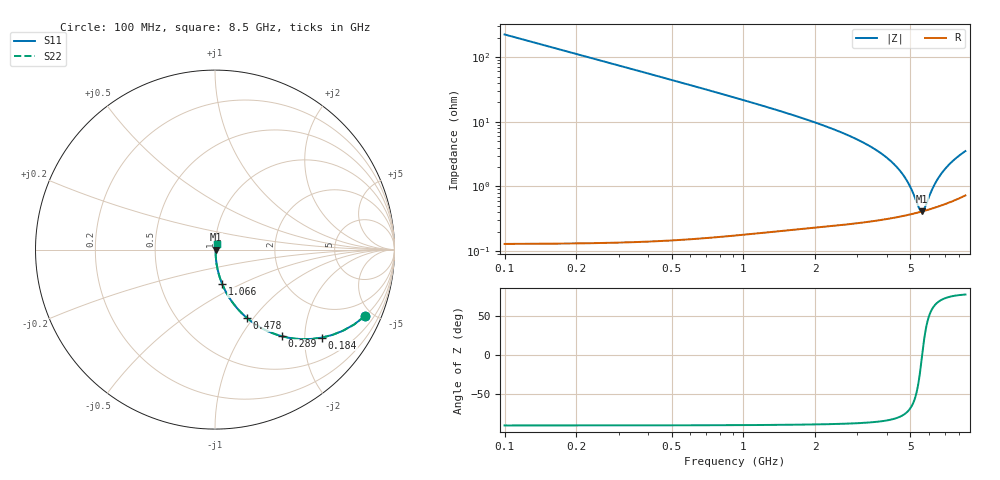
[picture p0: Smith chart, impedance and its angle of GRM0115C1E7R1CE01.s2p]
!Murata Part Number: GRM0115C1E7R1CE01
!These Parameters are Measured in Series Mode Connection
!Data Generated on Mar 30, 2021
!  o--ll--o
!Port1  Port2
!  o------o
!Operation Temp=25[degC], DC Bias Voltage=0[V]
!Freq. Start=100[MHz] Stop=9[GHz] 401[Steps]
# Hz S RI R 50
!Freq.(Hz) S11(Real) S11(Imag) S21(Real) S21(Imag) S12(Real) S12(Imag) S22(Real) S22(Imag)
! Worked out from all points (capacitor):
!   401 points, 100 MHz to 8.5 GHz, reference 50 ohm
!   read as one part in series: C = 7.1 pF near 142 MHz
!   lowest |Z| = 411 mohm at 5.581 GHz (marker M1)
!   series resonance near 5.6 GHz, so ESL is about 110 pH
!   S11 on the Smith chart (normalised r, x): 100 MHz: 1.00, -4.48; 184 MHz: 1.00, -2.43; 289 MHz: 1.00, -1.55; 478 MHz: 1.00, -0.93; 1.066 GHz: 1.00, -0.40; 8.5 GHz: 1.01, +0.07
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1e8  0.8338 -0.372  0.1662 0.372  0.1662 0.372  0.8338 -0.372
1.84e8  0.5968 -0.49  0.4032 0.49  0.4032 0.49  0.5968 -0.49
2.89e8  0.3745 -0.4831  0.6255 0.4831  0.6255 0.4831  0.3745 -0.4831
3.73e8  0.2639 -0.4396  0.7361 0.4396  0.7361 0.4396  0.2639 -0.4396
4.78e8  0.1787 -0.3815  0.8213 0.3815  0.8213 0.3815  0.1787 -0.3815
7.09e8  0.0892 -0.2825  0.9108 0.2825  0.9108 0.2825  0.0892 -0.2825
1.066e9  0.0409 -0.1936  0.9591 0.1936  0.9591 0.1936  0.0409 -0.1936
1.507e9  0.0205 -0.1345  0.9795 0.1345  0.9795 0.1345  0.0205 -0.1345
2.914e9  0.00576 -0.0555  0.9942 0.0555  0.9942 0.0555  0.00576 -0.0555
3.733e9  0.00411 -0.0331  0.9959 0.0331  0.9959 0.0331  0.00411 -0.0331
4.3e9  0.00374 -0.0212  0.9963 0.0212  0.9963 0.0212  0.00374 -0.0212
4.846e9  0.00373 -0.0115  0.9963 0.0115  0.9963 0.0115  0.00373 -0.0115
5.098e9  0.00381 -0.00747  0.9962 0.00747  0.9962 0.00747  0.00381 -0.00747
5.434e9  0.00398 -0.00239  0.996 0.00239  0.996 0.00239  0.00398 -0.00239
5.581e9  0.00408 -0.000269  0.9959 0.000269  0.9959 0.000269  0.00408 -0.000269
5.707e9  0.00418 0.00151  0.9958 -0.00151  0.9958 -0.00151  0.00418 0.00151
6.085e9  0.00452 0.00661  0.9955 -0.00661  0.9955 -0.00661  0.00452 0.00661
6.358e9  0.00481 0.0101  0.9952 -0.0101  0.9952 -0.0101  0.00481 0.0101
6.694e9  0.00522 0.0142  0.9948 -0.0142  0.9948 -0.0142  0.00522 0.0142
7.114e9  0.00581 0.0192  0.9942 -0.0192  0.9942 -0.0192  0.00581 0.0192
7.744e9  0.00686 0.0262  0.9931 -0.0262  0.9931 -0.0262  0.00686 0.0262
8.5e9  0.00838 0.034  0.9916 -0.034  0.9916 -0.034  0.00838 0.034
